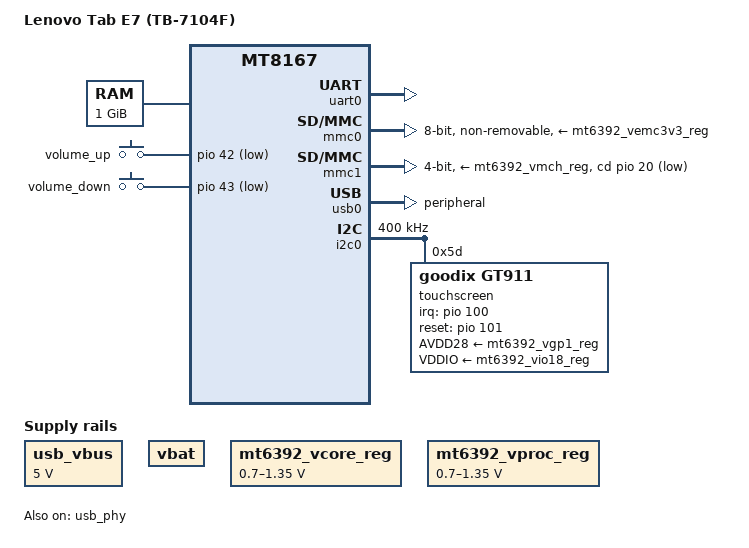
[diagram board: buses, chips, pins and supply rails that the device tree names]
// SPDX-License-Identifier: GPL-2.0
/*
 * Lenovo Tab E7 (TB-7104F) — MediaTek MT8167D, MT6392 PMIC
 * Based on mt8167-xiaomi-x04g.dts from Luca Scorcia's x04g-7.2-rc1 branch.
 * Adapted for TB-7104F: 1GB RAM, Goodix GT911 touch, gpio volume keys,
 * DSI+EK79007 display (commented out pending driver), kd070d5450nha6 panel.
 */
/dts-v1/;
#include <dt-bindings/gpio/gpio.h>
#include <dt-bindings/input/linux-event-codes.h>
#include "mt8167.dtsi"
#include "mt6392.dtsi"

/ {
	model = "Lenovo Tab E7 (TB-7104F)";
	chassis-type = "tablet";
	compatible = "lenovo,tb-7104f", "mediatek,mt8167";

	aliases {
		serial0 = &uart0;
		mmc0 = &mmc0;
		mmc1 = &mmc1;
	};

	chosen {
		stdout-path = "serial0:921600n8";
	};

	memory@40000000 {
		device_type = "memory";
		reg = <0 0x40000000 0 0x40000000>; /* 1 GB */
	};

	reserved-memory {
		#address-cells = <2>;
		#size-cells = <2>;
		ranges;

		/* ARM Trusted Firmware region — must not be touched by kernel */
		atf-reserved-memory@54600000 {
			reg = <0x00 0x54600000 0x00 0x30000>;
			no-map;
		};

		/* pstore/ramoops: panic log survives reboot, readable via BROM peek */
		ramoops@44400000 {
			compatible = "ramoops";
			reg = <0x0 0x44400000 0x0 0x100000>;
			no-map;
			record-size = <0x20000>;
			console-size = <0x80000>;
			ftrace-size = <0x0>;
			pmsg-size = <0x20000>;
		};
	};

	/* OP-TEE Trusted Execution Environment — present in Android firmware */
	firmware {
		optee {
			compatible = "linaro,optee-tz";
			method = "smc";
		};
	};

	/*
	 * Volume keys via GPIO (downstream: GPIO42=up, GPIO43=down).
	 * The x04g uses the MT8167 keypad matrix instead; TB-7104F uses plain GPIOs.
	 */
	gpio-keys {
		compatible = "gpio-keys";
		key-volume-up {
			gpios = <&pio 42 GPIO_ACTIVE_LOW>;
			linux,code = <KEY_VOLUMEUP>;
			label = "volume_up";
			debounce-interval = <15>;
		};
		key-volume-down {
			gpios = <&pio 43 GPIO_ACTIVE_LOW>;
			linux,code = <KEY_VOLUMEDOWN>;
			label = "volume_down";
			debounce-interval = <15>;
		};
	};

	/*
	 * USB VBUS regulator (fixed 5V, enable GPIO TBD from downstream source).
	 * Kept as always-on for bring-up.
	 */
	usb_vbus: regulator-usb-vbus {
		compatible = "regulator-fixed";
		regulator-name = "usb-vbus";
		regulator-min-microvolt = <5000000>;
		regulator-max-microvolt = <5000000>;
		regulator-always-on;
	};

	/* Battery rail — input supply for all MT6392 regulators */
	vbat: regulator-vbat-sys {
		compatible = "regulator-fixed";
		regulator-name = "vbat";
		regulator-always-on;
		regulator-boot-on;
	};
};

/* ---- PMIC ---- */
&pmic {
	interrupt-parent = <&pio>;
	interrupts = <28 IRQ_TYPE_LEVEL_HIGH>;
};

/* Input supplies for MT6392 regulator parent nodes */
&mt6392regulators {
	vproc-supply = <&vbat>;
	vcore-supply = <&vbat>;
	vsys-supply = <&vbat>;
	ldo1-supply = <&vbat>;
	ldo2-supply = <&vbat>;
	ldo3-supply = <&vbat>;
};

/* ---- MT6392 regulator constraints (matching x04g/cd24502f) ---- */
&mt6392_vcore_reg {
	regulator-min-microvolt = <700000>;
	regulator-max-microvolt = <1350000>;
	regulator-always-on;
	regulator-boot-on;
};

&mt6392_vproc_reg {
	regulator-min-microvolt = <700000>;
	regulator-max-microvolt = <1350000>;
	regulator-always-on;
	regulator-boot-on;
};

&mt6392_vsys_reg {
	regulator-always-on;
	regulator-boot-on;
};

&mt6392_vaud28_reg {
	regulator-always-on;
	regulator-boot-on;
};

&mt6392_vxo22_reg {
	regulator-always-on;
	regulator-boot-on;
};

&mt6392_vaud22_reg {
	regulator-always-on;
	regulator-boot-on;
};

&mt6392_vadc18_reg {
	regulator-always-on;
	regulator-boot-on;
};

&mt6392_vio28_reg {
	regulator-always-on;
	regulator-boot-on;
};

&mt6392_vusb_reg {
	regulator-always-on;
	regulator-boot-on;
};

&mt6392_vmc_reg {
	regulator-boot-on;
};

&mt6392_vmch_reg {
	regulator-boot-on;
};

&mt6392_vemc3v3_reg {
	regulator-boot-on;
};

&mt6392_vm25_reg {
	regulator-always-on;
	regulator-boot-on;
};

&mt6392_vdig18_reg {
	regulator-always-on;
	regulator-boot-on;
};

&mt6392_vm_reg {
	regulator-always-on;
	regulator-boot-on;
};

&mt6392_vio18_reg {
	regulator-always-on;
	regulator-boot-on;
};

&mt6392_vrtc_reg {
	regulator-always-on;
	regulator-boot-on;
};

/* ---- CPU: idle broken with Android firmware; proc-supply for cpufreq ---- */
&cpu0 {
	/delete-property/ cpu-idle-states;
	proc-supply = <&mt6392_vproc_reg>;
};

&cpu1 {
	/delete-property/ cpu-idle-states;
	proc-supply = <&mt6392_vproc_reg>;
};

&cpu2 {
	/delete-property/ cpu-idle-states;
	proc-supply = <&mt6392_vproc_reg>;
};

&cpu3 {
	/delete-property/ cpu-idle-states;
	proc-supply = <&mt6392_vproc_reg>;
};

/* ---- UART console ---- */
&pio {
	uart0_pins_default: uart0-pins-default {
		pins-rx {
			pinmux = <MT8167_PIN_62_URXD0__FUNC_URXD0>;
			input-enable;
			bias-pull-up;
		};
		pins-tx {
			pinmux = <MT8167_PIN_63_UTXD0__FUNC_UTXD0>;
		};
	};
};

&uart0 {
	pinctrl-names = "default";
	pinctrl-0 = <&uart0_pins_default>;
	status = "okay";
};

/* ---- eMMC (mmc0) ---- */
&pio {
	mmc0_pins_default: mmc0-default {
		pins_cmd_dat {
			pinmux = <MT8167_PIN_120_MSDC0_DAT0__FUNC_MSDC0_DAT0>,
				 <MT8167_PIN_119_MSDC0_DAT1__FUNC_MSDC0_DAT1>,
				 <MT8167_PIN_118_MSDC0_DAT2__FUNC_MSDC0_DAT2>,
				 <MT8167_PIN_117_MSDC0_DAT3__FUNC_MSDC0_DAT3>,
				 <MT8167_PIN_113_MSDC0_DAT4__FUNC_MSDC0_DAT4>,
				 <MT8167_PIN_112_MSDC0_DAT5__FUNC_MSDC0_DAT5>,
				 <MT8167_PIN_111_MSDC0_DAT6__FUNC_MSDC0_DAT6>,
				 <MT8167_PIN_110_MSDC0_DAT7__FUNC_MSDC0_DAT7>,
				 <MT8167_PIN_115_MSDC0_CMD__FUNC_MSDC0_CMD>;
			input-enable;
			bias-pull-up = <MTK_PUPD_SET_R1R0_01>;
		};
		pins_clk {
			pinmux = <MT8167_PIN_116_MSDC0_CLK__FUNC_MSDC0_CLK>;
			bias-pull-down = <MTK_PUPD_SET_R1R0_10>;
		};
		pins_rst {
			pinmux = <MT8167_PIN_114_MSDC0_RSTB__FUNC_MSDC0_RSTB>;
			bias-pull-up = <MTK_PUPD_SET_R1R0_01>;
		};
	};

	mmc0_pins_uhs: mmc0-uhs {
		pins_cmd_dat {
			pinmux = <MT8167_PIN_120_MSDC0_DAT0__FUNC_MSDC0_DAT0>,
				 <MT8167_PIN_119_MSDC0_DAT1__FUNC_MSDC0_DAT1>,
				 <MT8167_PIN_118_MSDC0_DAT2__FUNC_MSDC0_DAT2>,
				 <MT8167_PIN_117_MSDC0_DAT3__FUNC_MSDC0_DAT3>,
				 <MT8167_PIN_113_MSDC0_DAT4__FUNC_MSDC0_DAT4>,
				 <MT8167_PIN_112_MSDC0_DAT5__FUNC_MSDC0_DAT5>,
				 <MT8167_PIN_111_MSDC0_DAT6__FUNC_MSDC0_DAT6>,
				 <MT8167_PIN_110_MSDC0_DAT7__FUNC_MSDC0_DAT7>,
				 <MT8167_PIN_115_MSDC0_CMD__FUNC_MSDC0_CMD>;
			input-enable;
			drive-strength = <MTK_DRIVE_6mA>;
			bias-pull-up = <MTK_PUPD_SET_R1R0_01>;
		};
		pins_clk {
			pinmux = <MT8167_PIN_116_MSDC0_CLK__FUNC_MSDC0_CLK>;
			drive-strength = <MTK_DRIVE_8mA>;
			bias-pull-down = <MTK_PUPD_SET_R1R0_10>;
		};
		pins_rst {
			pinmux = <MT8167_PIN_114_MSDC0_RSTB__FUNC_MSDC0_RSTB>;
			bias-pull-up = <MTK_PUPD_SET_R1R0_01>;
		};
	};
};

&mmc0 {
	status = "okay";
	bus-width = <8>;
	max-frequency = <200000000>;
	cap-mmc-highspeed;
	mmc-hs200-1_8v;
	cap-mmc-hw-reset;
	non-removable;
	vmmc-supply = <&mt6392_vemc3v3_reg>;
	vqmmc-supply = <&mt6392_vio18_reg>;
	pinctrl-names = "default", "state_uhs";
	pinctrl-0 = <&mmc0_pins_default>;
	pinctrl-1 = <&mmc0_pins_uhs>;
};

/* ---- microSD (mmc1) ---- */
&pio {
	mmc1_pins_default: mmc1-default {
		pins_cmd_dat {
			pinmux = <MT8167_PIN_106_MSDC1_DAT0__FUNC_MSDC1_DAT0>,
				 <MT8167_PIN_107_MSDC1_DAT1__FUNC_MSDC1_DAT1>,
				 <MT8167_PIN_108_MSDC1_DAT2__FUNC_MSDC1_DAT2>,
				 <MT8167_PIN_109_MSDC1_DAT3__FUNC_MSDC1_DAT3>,
				 <MT8167_PIN_104_MSDC1_CMD__FUNC_MSDC1_CMD>;
			input-enable;
			drive-strength = <MTK_DRIVE_6mA>;
			bias-pull-up = <MTK_PUPD_SET_R1R0_01>;
		};
		pins_clk {
			pinmux = <MT8167_PIN_105_MSDC1_CLK__FUNC_MSDC1_CLK>;
			drive-strength = <MTK_DRIVE_6mA>;
			bias-pull-down = <MTK_PUPD_SET_R1R0_10>;
		};
		pins_insert {
			pinmux = <MT8167_PIN_20_EINT20__FUNC_GPIO20>;
			bias-pull-up;
		};
	};

	mmc1_pins_uhs: mmc1-uhs {
		pins_cmd_dat {
			pinmux = <MT8167_PIN_106_MSDC1_DAT0__FUNC_MSDC1_DAT0>,
				 <MT8167_PIN_107_MSDC1_DAT1__FUNC_MSDC1_DAT1>,
				 <MT8167_PIN_108_MSDC1_DAT2__FUNC_MSDC1_DAT2>,
				 <MT8167_PIN_109_MSDC1_DAT3__FUNC_MSDC1_DAT3>,
				 <MT8167_PIN_104_MSDC1_CMD__FUNC_MSDC1_CMD>;
			input-enable;
			drive-strength = <MTK_DRIVE_6mA>;
			bias-pull-up = <MTK_PUPD_SET_R1R0_01>;
		};
		pins_clk {
			pinmux = <MT8167_PIN_105_MSDC1_CLK__FUNC_MSDC1_CLK>;
			drive-strength = <MTK_DRIVE_8mA>;
			bias-pull-down = <MTK_PUPD_SET_R1R0_10>;
		};
	};
};

&mmc1 {
	status = "okay";
	bus-width = <4>;
	max-frequency = <200000000>;
	cap-sd-highspeed;
	sd-uhs-sdr50;
	sd-uhs-sdr104;
	vmmc-supply = <&mt6392_vmch_reg>;
	vqmmc-supply = <&mt6392_vmc_reg>;
	cd-gpios = <&pio 20 GPIO_ACTIVE_LOW>;
	disable-wp;
	no-mmc;
	no-sdio;
	pinctrl-names = "default", "state_uhs";
	pinctrl-0 = <&mmc1_pins_default>;
	pinctrl-1 = <&mmc1_pins_uhs>;
};

/* ---- USB gadget (peripheral-only, no role-switch) ---- */
&usb0 {
	status = "okay";
	dr_mode = "peripheral";
};

&usb_phy {
	status = "okay";
};

/* ---- Touchscreen: Goodix GT911 on i2c0 ---- */
&i2c0 {
	status = "okay";
	clock-frequency = <400000>;

	touchscreen@5d {
		compatible = "goodix,gt911";
		reg = <0x5d>;
		interrupt-parent = <&pio>;
		interrupts = <100 IRQ_TYPE_EDGE_FALLING>;
		irq-gpios = <&pio 100 GPIO_ACTIVE_HIGH>;
		reset-gpios = <&pio 101 GPIO_ACTIVE_HIGH>;
		AVDD28-supply = <&mt6392_vgp1_reg>;
		VDDIO-supply = <&mt6392_vio18_reg>;
	};
};

/*
 * TODO (later milestones):
 *  - Display: dpi0 -> kd070d5450nha6 panel (RGB666 DPI, 1024x600@51MHz)
 *    (gpio_lcd_pwr=GPIO50, gpio_lcd_rst=GPIO70, supply mt6392_vgp2)
 *    Use panel-simple with kd070d5450nha6 timings, or simple-framebuffer if LK left it up.
 *  - Audio: MT8167 AFE + MT6392 speaker amp
 *  - WiFi/BT: consys (MediaTek proprietary, hard)
 *  - Accelerometer: i2c1 (KXTJ2-1009 @0x0e or BMA253 @0x18)
 */
